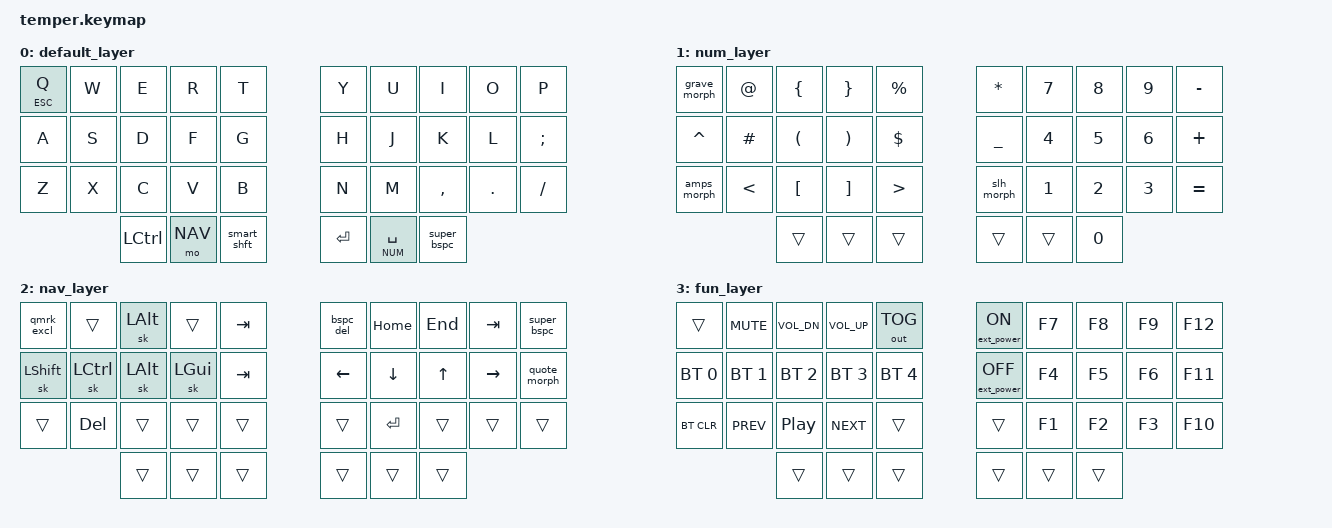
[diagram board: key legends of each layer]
/*
 * Copyright (c) 2020 The ZMK Contributors
 *
 * SPDX-License-Identifier: MIT
 */

#include <behaviors.dtsi>
#include <dt-bindings/zmk/keys.h>
#include <dt-bindings/zmk/bt.h>
#include <dt-bindings/zmk/outputs.h>
#include <dt-bindings/zmk/ext_power.h>

#define DEFAULT 0
#define NUM 1
#define NAV 2
#define FUN 3

/ {
    conditional_layers {
        compatible = "zmk,conditional-layers";
        tri_layer {
            if-layers = <NUM NAV>;
            then-layer = <FUN>;
        };
    };
    behaviors {
        bspc_del: backspace_delete {
            compatible = "zmk,behavior-mod-morph";
            #binding-cells = <0>;
            bindings = <&kp BACKSPACE>, <&kp DELETE>;
            mods = <(MOD_LSFT|MOD_RSFT)>;
            keep-mods = <(MOD_RSFT)>;
        };
        super_bspc: super_backspace {
            compatible = "zmk,behavior-mod-morph";
            #binding-cells = <0>;
            bindings = <&kp BACKSPACE>, <&kp LA(BACKSPACE)>;
            mods = <(MOD_LSFT|MOD_RSFT)>;
        };
        smart_shft: smart_shift {
            compatible = "zmk,behavior-mod-morph";
            #binding-cells = <0>;
            bindings = <&kp LSHFT>, <&caps_word>;
            mods = <(MOD_LSFT)>;
        };
        comma_semi: comma_semi {
            compatible = "zmk,behavior-mod-morph";
            #binding-cells = <0>;
            bindings = <&kp COMMA>, <&kp SEMI>;
            mods = <(MOD_LSFT)>;
        };
        dot_colon: dot_colon {
            compatible = "zmk,behavior-mod-morph";
            #binding-cells = <0>;
            bindings = <&kp DOT>, <&kp COLON>;
            mods = <(MOD_LSFT)>;
        };
        qmrk_excl: qmrk_excl {
            compatible = "zmk,behavior-mod-morph";
            #binding-cells = <0>;
            bindings = <&kp QMARK>, <&kp EXCL>;
            mods = <(MOD_LSFT)>;
        };
        slh_morph: slh_morph {
            compatible = "zmk,behavior-mod-morph";
            #binding-cells = <0>;
            bindings = <&kp FSLH>, <&kp BSLH>;
            mods = <(MOD_LSFT)>;
        };
        amps_morph: amps_morph {
            compatible = "zmk,behavior-mod-morph";
            #binding-cells = <0>;
            bindings = <&kp AMPS>, <&kp PIPE>;
            mods = <(MOD_LSFT)>;
        };

        grave_morph: grave_morph {
            compatible = "zmk,behavior-mod-morph";
            #binding-cells = <0>;
            bindings = <&kp GRAVE>, <&kp TILDE>;
            mods = <(MOD_LSFT)>;
        };
        quote_morph: quote_morph{
            compatible = "zmk,behavior-mod-morph";
            #binding-cells = <0>;
            bindings = <&kp SQT>, <&kp DQT>;
            mods = <(MOD_LSFT)>;
        };
    };
        keymap {
                compatible = "zmk,keymap";

                default_layer {
                        bindings = <
// ╭─────────────┬─────────────┬─────────────┬─────────────┬─────────────╮   ╭─────────────┬─────────────┬─────────────┬─────────────┬─────────────╮
        &lt ESC Q         &kp W         &kp E         &kp R         &kp T              &kp Y        &kp U         &kp I     &kp O        &kp P    
// ├─────────────┼─────────────┼─────────────┼─────────────┼─────────────┤   ├─────────────┼─────────────┼─────────────┼─────────────┼─────────────┤
        &kp A         &kp S         &kp D         &kp F         &kp G              &kp H        &kp J         &kp K         &kp L       &kp SEMI
// ├─────────────┼─────────────┼─────────────┼─────────────┼─────────────┤   ├─────────────┼─────────────┼─────────────┼─────────────┼─────────────┤
        &kp Z         &kp X         &kp C         &kp V         &kp B              &kp N        &kp M       &kp COMMA      &kp DOT      &kp FSLH
// ╰─────────────┴─────────────┼─────────────┼─────────────┼─────────────┤   ├─────────────┼─────────────┼─────────────┼─────────────┴─────────────╯
                                   &kp LCTRL      &mo NAV   &smart_shft         &kp ENTER       &lt NUM SPACE    &super_bspc
//                             ╰─────────────┴─────────────┴─────────────╯   ╰─────────────┴─────────────┴─────────────╯
                        >;
                };
                num_layer {
                        bindings = <
// ╭─────────────┬─────────────┬─────────────┬─────────────┬─────────────╮   ╭─────────────┬─────────────┬─────────────┬─────────────┬─────────────╮
      &grave_morph       &kp AT       &kp LBRC      &kp RBRC     &kp PRCNT          &kp STAR       &kp N7        &kp N8        &kp N9      &kp MINUS
// ├─────────────┼─────────────┼─────────────┼─────────────┼─────────────┤   ├─────────────┼─────────────┼─────────────┼─────────────┼─────────────┤
      &kp CARET      &kp HASH      &kp LPAR      &kp RPAR      &kp DLLR         &kp UNDER       &kp N4        &kp N5        &kp N6      &kp PLUS
// ├─────────────┼─────────────┼─────────────┼─────────────┼─────────────┤   ├─────────────┼─────────────┼─────────────┼─────────────┼─────────────┤
      &amps_morph     &kp LT       &kp LBKT      &kp RBKT       &kp GT          &slh_morph      &kp N1        &kp N2        &kp N3      &kp EQUAL
// ╰─────────────┴─────────────┼─────────────┼─────────────┼─────────────┤   ├─────────────┼─────────────┼─────────────┼─────────────┴─────────────╯
                                    &trans        &trans        &trans          &trans        &trans          &kp N0
//                             ╰─────────────┴─────────────┴─────────────╯   ╰─────────────┴─────────────┴─────────────╯
                        >;
                };

                nav_layer {
                        bindings = <
// ╭─────────────┬─────────────┬─────────────┬─────────────┬─────────────╮   ╭─────────────┬─────────────┬─────────────┬─────────────┬─────────────╮
        &qmrk_excl        &trans        &sk LALT        &trans       &kp TAB             &bspc_del       &kp HOME      &kp END       &kp TAB     &super_bspc
// ├─────────────┼─────────────┼─────────────┼─────────────┼─────────────┤   ├─────────────┼─────────────┼─────────────┼─────────────┼─────────────┤
      &sk LSHFT     &sk LCTRL      &sk LALT      &sk LGUI      &kp TAB           &kp LEFT      &kp DOWN       &kp UP      &kp RIGHT       &quote_morph
// ├─────────────┼─────────────┼─────────────┼─────────────┼─────────────┤   ├─────────────┼─────────────┼─────────────┼─────────────┼─────────────┤
        &trans       &kp DEL        &trans        &trans        &trans            &trans        &kp RET       &trans        &trans        &trans
// ╰─────────────┴─────────────┼─────────────┼─────────────┼─────────────┤   ├─────────────┼─────────────┼─────────────┼─────────────┴─────────────╯
                                    &trans        &trans        &trans            &trans        &trans        &trans
//                             ╰─────────────┴─────────────┴─────────────╯   ╰─────────────┴─────────────┴─────────────╯
                        >;
                };

                fun_layer {
                        bindings = <
// ╭─────────────┬─────────────┬─────────────┬─────────────┬─────────────╮   ╭─────────────┬─────────────┬─────────────┬─────────────┬─────────────╮
      &trans   &kp K_MUTE    &kp C_VOL_DN  &kp C_VOL_UP  &out OUT_TOG            &ext_power EP_ON        &kp F7        &kp F8        &kp F9       &kp F12
// ├─────────────┼─────────────┼─────────────┼─────────────┼─────────────┤   ├─────────────┼─────────────┼─────────────┼─────────────┼─────────────┤
     &bt BT_SEL 0  &bt BT_SEL 1  &bt BT_SEL 2  &bt BT_SEL 3  &bt BT_SEL 4        &ext_power EP_OFF     &kp F4        &kp F5        &kp F6       &kp F11
// ├─────────────┼─────────────┼─────────────┼─────────────┼─────────────┤   ├─────────────┼─────────────┼─────────────┼─────────────┼─────────────┤
      &bt BT_CLR    &kp C_PREV     &kp C_PP     &kp C_NEXT      &trans            &trans        &kp F1        &kp F2        &kp F3       &kp F10
// ╰─────────────┴─────────────┼─────────────┼─────────────┼─────────────┤   ├─────────────┼─────────────┼─────────────┼─────────────┴─────────────╯
                                    &trans        &trans        &trans            &trans        &trans        &trans
//                             ╰─────────────┴─────────────┴─────────────╯   ╰─────────────┴─────────────┴─────────────╯
                        >;
                };
        };
};
